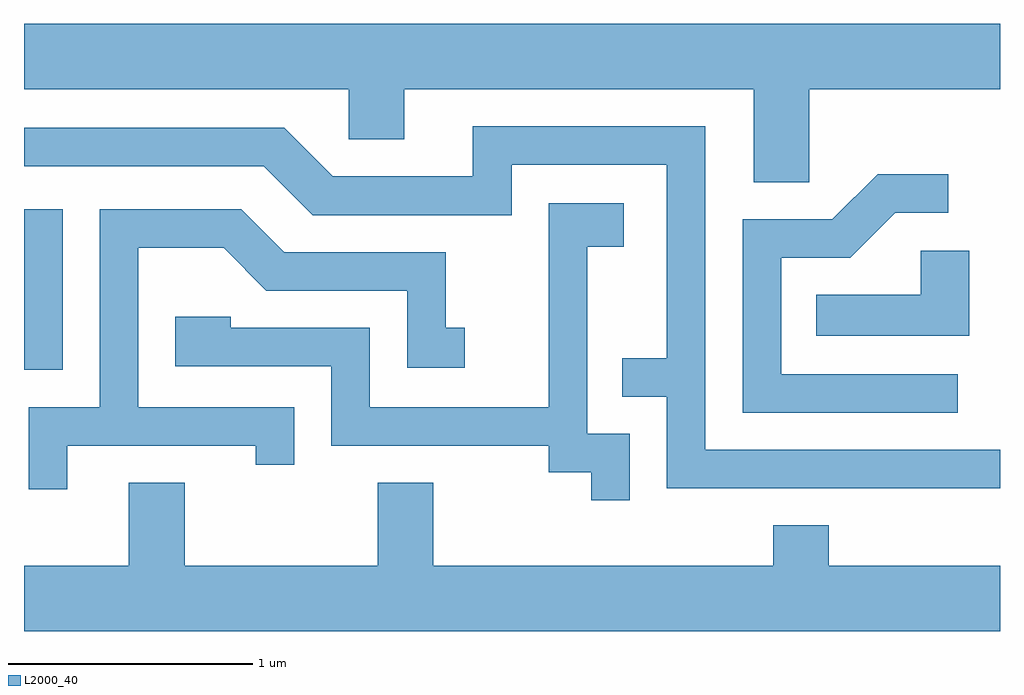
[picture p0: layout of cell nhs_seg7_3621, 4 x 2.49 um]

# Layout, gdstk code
import gdstk
lib = gdstk.Library(unit=1e-6, precision=1e-09)
def R(c, l, rs):  # rectangles x0, y0, x1, y1
    for r in rs: c.add(gdstk.rectangle(r[:2], r[2:], *l))
def P(c, l, *ps):  # polygons
    for p in ps: c.add(gdstk.Polygon(p, *l))
L2000_40 = (2000, 40)

nhs_seg7_3621 = lib.new_cell('nhs_seg7_3621')
R(nhs_seg7_3621, L2000_40, [(295.611,1759.786,295.769,1760.444)])
P(nhs_seg7_3621, L2000_40, [(298.829,1760.936),(299.611,1760.936),(299.611,1761.204),(295.611,1761.204),(295.611,1760.936),(296.941,1760.936),(296.941,1760.731),(297.169,1760.731),(297.169,1760.936),(298.601,1760.936),(298.601,1760.556),(298.829,1760.556)],
  [(299.611,1759.459),(298.404,1759.459),(298.404,1760.784),(297.451,1760.784),(297.451,1760.579),(296.877,1760.579),(296.677,1760.779),(295.611,1760.779),(295.611,1760.621),(296.594,1760.621),(296.794,1760.421),(297.609,1760.421),(297.609,1760.626),(298.246,1760.626),(298.246,1759.834),(298.063,1759.834),(298.063,1759.676),(298.246,1759.676),(298.246,1759.301),(299.611,1759.301)],
  [(299.438,1759.769),(298.714,1759.769),(298.714,1760.246),(298.997,1760.246),(299.182,1760.431),(299.398,1760.431),(299.398,1760.589),(299.109,1760.589),(298.924,1760.404),(298.556,1760.404),(298.556,1759.611),(299.438,1759.611)],
  [(298.094,1759.524),(297.919,1759.524),(297.919,1760.291),(298.069,1760.291),(298.069,1760.469),(297.761,1760.469),(297.761,1759.634),(297.029,1759.634),(297.029,1759.959),(296.459,1759.959),(296.459,1760.004),(296.231,1760.004),(296.231,1759.801),(296.871,1759.801),(296.871,1759.476),(297.761,1759.476),(297.761,1759.366),(297.936,1759.366),(297.936,1759.253),(298.094,1759.253)],
  [(295.789,1759.476),(296.561,1759.476),(296.561,1759.398),(296.719,1759.398),(296.719,1759.634),(296.079,1759.634),(296.079,1760.286),(296.429,1760.286),(296.604,1760.111),(297.181,1760.111),(297.181,1759.796),(297.418,1759.796),(297.418,1759.959),(297.339,1759.959),(297.339,1760.269),(296.677,1760.269),(296.502,1760.444),(295.921,1760.444),(295.921,1759.634),(295.631,1759.634),(295.631,1759.298),(295.789,1759.298)],
  [(299.484,1760.274),(299.286,1760.274),(299.286,1760.094),(298.858,1760.094),(298.858,1759.926),(299.484,1759.926)],
  [(299.611,1758.984),(298.909,1758.984),(298.909,1759.149),(298.681,1759.149),(298.681,1758.984),(297.289,1758.984),(297.289,1759.324),(297.061,1759.324),(297.061,1758.984),(296.269,1758.984),(296.269,1759.324),(296.041,1759.324),(296.041,1758.984),(295.611,1758.984),(295.611,1758.716),(299.611,1758.716)])

lib.write_gds('nhs_seg7_3621.gds')
